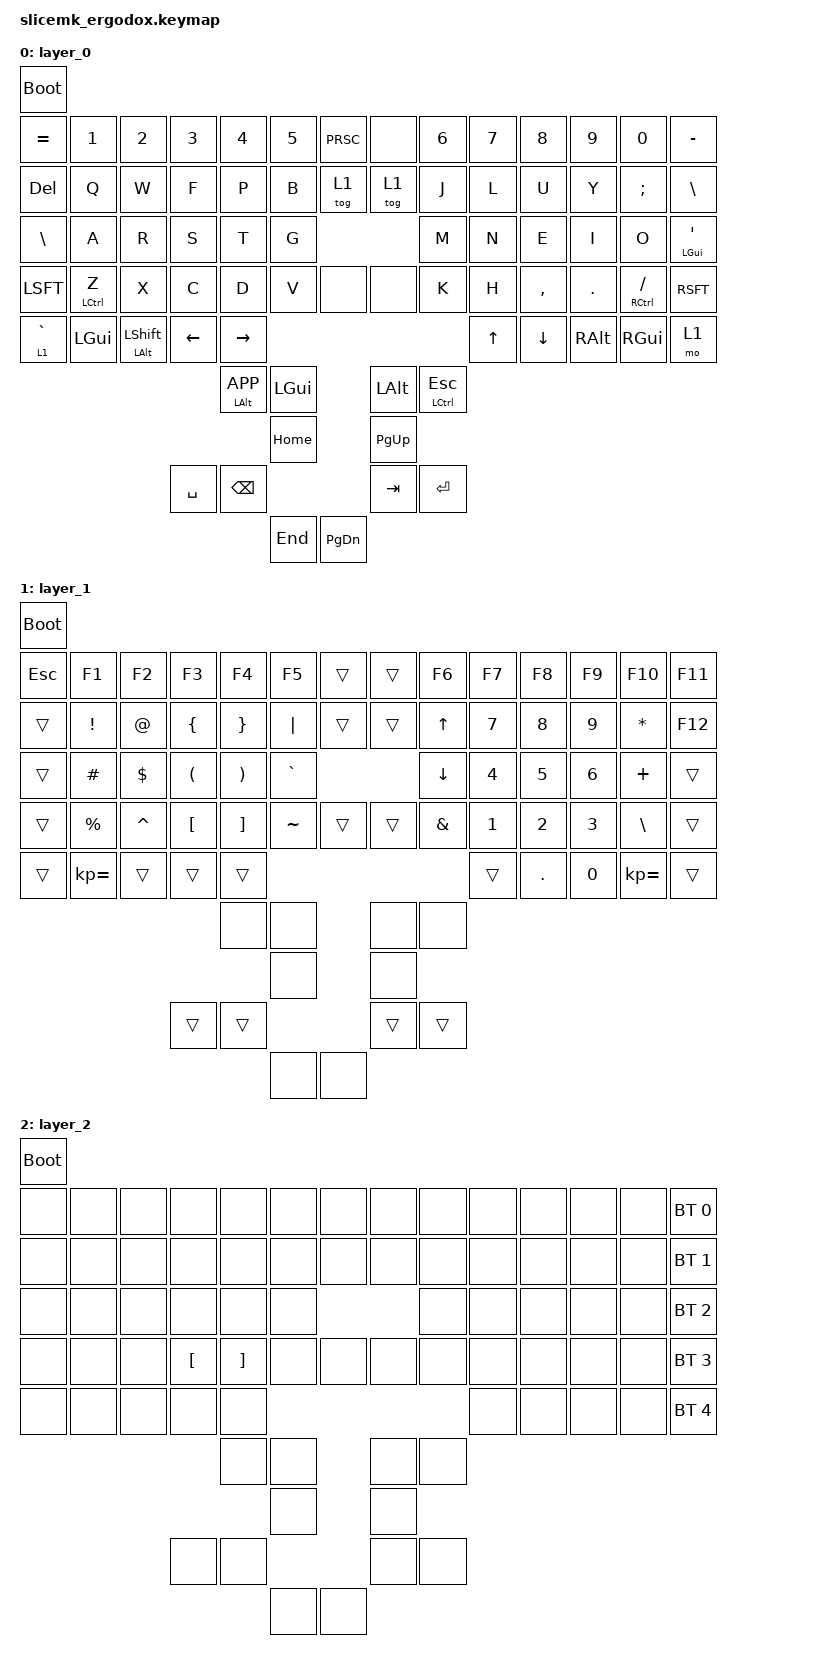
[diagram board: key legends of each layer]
#include <behaviors.dtsi>
#include <dt-bindings/zmk/bt.h>
#include <dt-bindings/zmk/keys.h>
#include <dt-bindings/zmk/outputs.h>

&mt {    
        // Defines how long a key must be pressed to trigger Hold behavior. Default: 200
        // tapping-term-ms = <400>;
        // The 'tap-preferred' flavor triggers the hold behavior when the tapping-term-ms has 
        // expired. It triggers the tap behavior when another key is pressed.
        flavor = "tap-preferred";
};

/ {
        keymap {
                compatible = "zmk,keymap";

                layer_0 {
                        bindings = <
    &bootloader
    &kp EQUAL   &kp NUM_1   &kp NUM_2      &kp NUM_3 &kp NUM_4 &kp NUM_5 &kp PRSC    &none    &kp NUM_6     &kp NUM_7 &kp NUM_8 &kp NUM_9 &kp NUM_0      &kp MINUS
    &kp DEL     &kp Q       &kp W          &kp F     &kp P     &kp B     &tog 1      &tog 1   &kp J         &kp L     &kp U     &kp Y     &kp SEMI       &kp BSLH
    &kp BSLH    &kp A       &kp R          &kp S     &kp T     &kp G                          &kp M         &kp N     &kp E     &kp I     &kp O          &mt LGUI APOS
    &kp LSFT    &mt LCTRL Z &kp X          &kp C     &kp D     &kp V     &none       &none    &kp K         &kp H     &kp CMMA  &kp DOT   &mt RCTRL FSLH &kp RSFT
    &lt 1 GRAVE &kp LGUI    &mt LALT LSHFT &kp LEFT  &kp RIGHT                                              &kp UP    &kp DOWN  &kp RALT  &kp RGUI       &mo 1
                                                          &mt LALT K_APP  &kp LGUI    &kp LALT  &mt LCTRL ESC
                                                                    &kp HOME    &kp PG_UP
                                                &kp SPC   &kp BSPC                       &kp TAB   &kp RET
                                                                    &kp END    &kp PG_DN
                        >;
                };

                layer_1 {
                        bindings = <
    &bootloader
    &kp ESC    &kp F1       &kp F2     &kp F3     &kp F4     &kp F5     &trans      &trans      &kp F6     &kp F7     &kp F8     &kp F9       &kp F10      &kp F11
    &trans      &kp EXCL     &kp AT     &kp LBRC   &kp RBRC   &kp PIPE   &trans      &trans      &kp UP     &kp NUM_7  &kp NUM_8  &kp NUM_9    &kp STAR     &kp F12
    &trans      &kp HASH     &kp DLLR   &kp LPAR   &kp RPAR   &kp GRAVE                        &kp DOWN   &kp NUM_4  &kp NUM_5  &kp NUM_6    &kp PLUS     &trans
    &trans      &kp PRCNT    &kp CARET  &kp LBKT   &kp RBKT   &kp TILDE  &trans      &trans      &kp AMPS   &kp NUM_1  &kp NUM_2  &kp NUM_3    &kp BSLH     &trans
    &trans      &kp KP_EQUAL &trans      &trans      &trans                                                  &trans      &kp DOT    &kp NUM_0    &kp KP_EQUAL &trans
                                                           &none      &none      &none      &none
                                                                      &none      &none
                                                &trans      &trans                            &trans      &trans
                                                                      &none      &none
                        >;
                };

                layer_2 {
                        bindings = <
    &bootloader
    &none      &none      &none      &none      &none      &none      &none      &none      &none      &none      &none      &none      &none      &bt BT_SEL 0
    &none      &none      &none      &none      &none      &none      &none      &none      &none      &none      &none      &none      &none      &bt BT_SEL 1
    &none      &none      &none      &none      &none      &none                            &none      &none      &none      &none      &none      &bt BT_SEL 2
    &none      &none      &none      &kp LBKT   &kp RBKT   &none      &none      &none      &none      &none      &none      &none      &none      &bt BT_SEL 3
    &none      &none      &none      &none      &none                                                  &none      &none      &none      &none      &bt BT_SEL 4
                                                           &none      &none      &none      &none
                                                                      &none      &none
                                                &none      &none                            &none      &none
                                                                      &none      &none
                        >;
                };

        };
};
